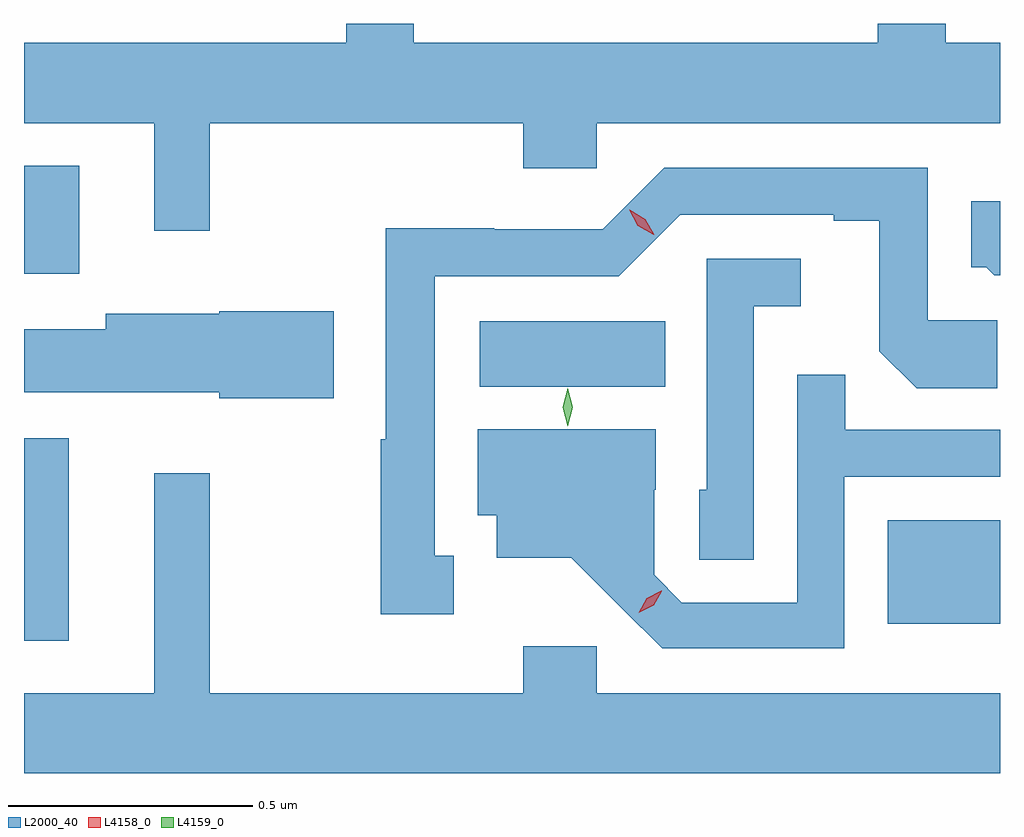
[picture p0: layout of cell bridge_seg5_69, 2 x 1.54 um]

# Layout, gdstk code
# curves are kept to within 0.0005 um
import gdstk
lib = gdstk.Library(unit=1e-6, precision=1e-09)
def R(c, l, rs):  # rectangles x0, y0, x1, y1
    for r in rs: c.add(gdstk.rectangle(r[:2], r[2:], *l))
def P(c, l, *ps):  # polygons
    for p in ps: c.add(gdstk.Polygon(p, *l))
L2000_40 = (2000, 40)
L4158_0 = (4158, 0)
L4159_0 = (4159, 0)

bridge_seg5_69 = lib.new_cell('bridge_seg5_69')
R(bridge_seg5_69, L2000_40, [(143.324,903.651,143.416,904.066), (145.094,903.686,145.324,903.898), (144.258,904.172,144.638,904.306), (143.324,904.403,143.437,904.624)])
P(bridge_seg5_69, L2000_40, [(143.705,904.712),(144.347,904.712),(144.347,904.619),(144.498,904.619),(144.498,904.712),(145.324,904.712),(145.324,904.876),(145.213,904.876),(145.213,904.915),(145.073,904.915),(145.073,904.876),(144.123,904.876),(144.123,904.915),(143.984,904.915),(143.984,904.876),(143.324,904.876),(143.324,904.712),(143.591,904.712),(143.591,904.491),(143.705,904.491)],
  [(144.205,903.825),(144.166,903.825),(144.166,904.398),(144.543,904.398),(144.669,904.524),(144.983,904.524),(144.983,904.512),(145.077,904.512),(145.077,904.244),(145.153,904.168),(145.318,904.168),(145.318,904.308),(145.176,904.308),(145.176,904.62),(144.636,904.62),(144.51,904.494),(144.288,904.494),(144.288,904.496),(144.065,904.496),(144.065,904.064),(144.055,904.064),(144.055,903.705),(144.205,903.705)],
  [(145.324,904.552),(145.265,904.552),(145.265,904.416),(145.296,904.416),(145.312,904.4),(145.324,904.4)],
  [(144.819,904.337),(144.916,904.337),(144.916,904.434),(144.723,904.434),(144.723,903.96),(144.708,903.96),(144.708,903.817),(144.819,903.817)],
  [(143.959,904.326),(143.724,904.326),(143.724,904.321),(143.492,904.321),(143.492,904.289),(143.324,904.289),(143.324,904.16),(143.724,904.16),(143.724,904.148),(143.959,904.148)],
  [(145.005,903.987),(145.324,903.987),(145.324,904.083),(145.007,904.083),(145.007,904.196),(144.909,904.196),(144.909,903.729),(144.672,903.729),(144.615,903.786),(144.615,903.96),(144.619,903.96),(144.619,904.084),(144.254,904.084),(144.254,903.908),(144.293,903.908),(144.293,903.821),(144.445,903.821),(144.632,903.636),(145.005,903.636)],
  [(143.591,903.994),(143.591,903.544),(143.324,903.544),(143.324,903.38),(145.324,903.38),(145.324,903.544),(144.498,903.544),(144.498,903.64),(144.347,903.64),(144.347,903.544),(143.705,903.544),(143.705,903.994)])
P(bridge_seg5_69, L4158_0, [(144.614,904.483),(144.582,904.502),(144.564,904.534),(144.564,904.534),(144.565,904.534),(144.597,904.515),(144.615,904.483),(144.615,904.483)],
  [(144.584,903.708),(144.584,903.708),(144.6,903.738),(144.63,903.754),(144.631,903.754),(144.631,903.753),(144.614,903.724),(144.584,903.708)])
P(bridge_seg5_69, L4159_0, [(144.438,904.091),(144.438,904.091),(144.428,904.13),(144.438,904.169),(144.438,904.169),(144.438,904.169),(144.448,904.13),(144.438,904.091)])

lib.write_gds('bridge_seg5_69.gds')
